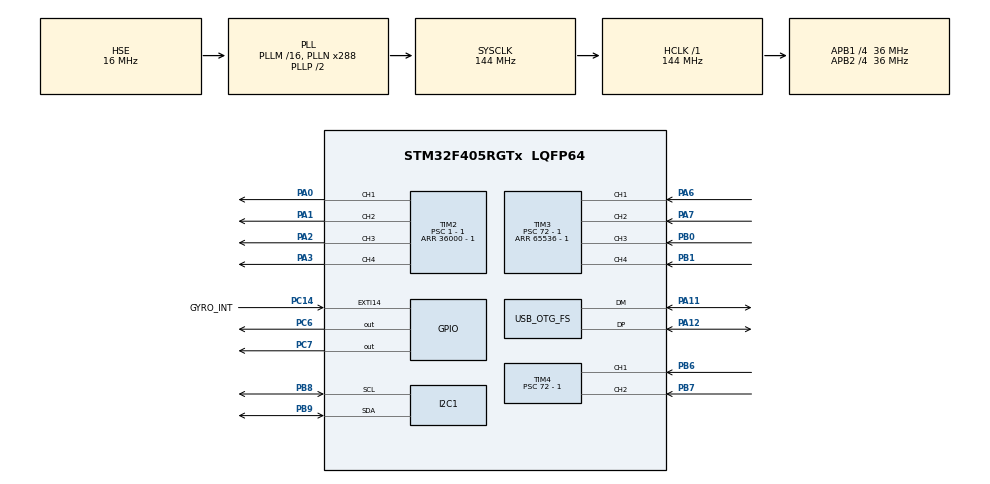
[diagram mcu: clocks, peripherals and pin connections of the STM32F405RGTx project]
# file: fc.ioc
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I2C1.I2C_Mode=I2C_Fast
Mcu.Family=STM32F4
Mcu.Name=STM32F405RGTx
Mcu.Package=LQFP64
NVIC.EXTI15_10_IRQn=true\:0\:0\:true\:false\:true\:true\:true
NVIC.OTG_FS_IRQn=true\:1\:0\:true\:false\:true\:false\:true
NVIC.PriorityGroup=NVIC_PRIORITYGROUP_4
NVIC.TIM3_IRQn=true\:0\:0\:false\:false\:true\:true\:true
NVIC.TIM4_IRQn=true\:0\:0\:false\:false\:true\:true\:true
NVIC.TIM7_IRQn=true\:2\:0\:true\:false\:true\:true\:true
PA0-WKUP.Signal=S_TIM2_CH1_ETR
PA1.Signal=S_TIM2_CH2
PA11.Mode=Device_Only
PA11.Signal=USB_OTG_FS_DM
PA12.Mode=Device_Only
PA12.Signal=USB_OTG_FS_DP
PA13.Mode=Trace_Asynchronous_SW
PA13.Signal=SYS_JTMS-SWDIO
PA14.Mode=Trace_Asynchronous_SW
PA14.Signal=SYS_JTCK-SWCLK
PA2.Signal=S_TIM2_CH3
PA3.Signal=S_TIM2_CH4
PA6.Signal=S_TIM3_CH1
PA7.Signal=S_TIM3_CH2
PB0.Signal=S_TIM3_CH3
PB1.Signal=S_TIM3_CH4
PB3.Mode=Trace_Asynchronous_SW
PB3.Signal=SYS_JTDO-SWO
PB6.Signal=S_TIM4_CH1
PB7.Signal=S_TIM4_CH2
PB8.Mode=I2C
PB8.Signal=I2C1_SCL
PB9.Mode=I2C
PB9.Signal=I2C1_SDA
PC14-OSC32_IN.GPIO_Label=GYRO_INT
PC14-OSC32_IN.Signal=GPXTI14
PC6.Signal=GPIO_Output
PC7.Signal=GPIO_Output
PH0-OSC_IN.Mode=HSE-External-Oscillator
PH0-OSC_IN.Signal=RCC_OSC_IN
PH1-OSC_OUT.Mode=HSE-External-Oscillator
PH1-OSC_OUT.Signal=RCC_OSC_OUT
ProjectManager.HeapSize=0x1000
ProjectManager.StackSize=0x400
ProjectManager.TargetToolchain=STM32CubeIDE
RCC.48MHZClocksFreq_Value=48000000
RCC.AHBFreq_Value=144000000
RCC.APB1CLKDivider=RCC_HCLK_DIV4
RCC.APB1Freq_Value=36000000
RCC.APB1TimFreq_Value=72000000
RCC.APB2CLKDivider=RCC_HCLK_DIV4
RCC.APB2Freq_Value=36000000
RCC.APB2TimFreq_Value=72000000
RCC.CortexFreq_Value=144000000
RCC.HCLKFreq_Value=144000000
RCC.HSE_VALUE=16000000
RCC.HSI_VALUE=16000000
RCC.LSE_VALUE=32768
RCC.PLLN=288
RCC.PLLQ=6
RCC.SYSCLKFreq_VALUE=144000000
RCC.SYSCLKSource=RCC_SYSCLKSOURCE_PLLCLK
RCC.VCOOutputFreq_Value=288000000
SH.S_TIM2_CH1_ETR.0=TIM2_CH1,PWM Generation1 CH1
SH.S_TIM2_CH2.0=TIM2_CH2,PWM Generation2 CH2
SH.S_TIM2_CH3.0=TIM2_CH3,PWM Generation3 CH3
SH.S_TIM2_CH4.0=TIM2_CH4,PWM Generation4 CH4
SH.S_TIM3_CH1.0=TIM3_CH1,Input_Capture1_from_TI1
SH.S_TIM3_CH2.0=TIM3_CH2,Input_Capture2_from_TI2
SH.S_TIM3_CH3.0=TIM3_CH3,Input_Capture3_from_TI3
SH.S_TIM3_CH4.0=TIM3_CH4,Input_Capture4_from_TI4
SH.S_TIM4_CH1.0=TIM4_CH1,Input_Capture1_from_TI1
SH.S_TIM4_CH2.0=TIM4_CH2,Input_Capture2_from_TI2
TIM2.Channel-PWM\ Generation1\ CH1=TIM_CHANNEL_1
TIM2.Channel-PWM\ Generation2\ CH2=TIM_CHANNEL_2
TIM2.Channel-PWM\ Generation3\ CH3=TIM_CHANNEL_3
TIM2.Channel-PWM\ Generation4\ CH4=TIM_CHANNEL_4
TIM2.Period=36000 - 1
TIM2.Prescaler=1 - 1
TIM3.Channel-Input_Capture1_from_TI1=TIM_CHANNEL_1
TIM3.Channel-Input_Capture2_from_TI2=TIM_CHANNEL_2
TIM3.Channel-Input_Capture3_from_TI3=TIM_CHANNEL_3
TIM3.Channel-Input_Capture4_from_TI4=TIM_CHANNEL_4
TIM3.Period=65536 - 1
TIM3.Prescaler=72 - 1
TIM4.Channel-Input_Capture1_from_TI1=TIM_CHANNEL_1
TIM4.Channel-Input_Capture2_from_TI2=TIM_CHANNEL_2
TIM4.Period=65536 - 1
TIM4.Prescaler=72 - 1
TIM6.Period=65536 - 1
TIM6.Prescaler=72 - 1
TIM7.Period=20000 - 1
TIM7.Prescaler=72 - 1
USB_DEVICE.CLASS_NAME_FS=CDC
USB_DEVICE.VirtualMode-CDC_FS=Cdc
USB_DEVICE.VirtualModeFS=Cdc_FS
USB_OTG_FS.VirtualMode=Device_Only
VP_TIM6_VS_ClockSourceINT.Mode=Enable_Timer
VP_TIM7_VS_ClockSourceINT.Mode=Enable_Timer
VP_USB_DEVICE_VS_USB_DEVICE_CDC_FS.Mode=CDC_FS
board=custom

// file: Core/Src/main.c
/* USER CODE BEGIN Header */
/**
  ******************************************************************************
  * @file           : main.c
  * @brief          : Main program body
  ******************************************************************************
  * @attention
  *
  * <h2><center>&copy; Copyright (c) 2021 STMicroelectronics.
  * All rights reserved.</center></h2>
  *
  * This software component is licensed by ST under BSD 3-Clause license,
  * the "License"; You may not use this file except in compliance with the
  * License. You may obtain a copy of the License at:
  *                        opensource.org/licenses/BSD-3-Clause
  *
  ******************************************************************************
  */
/* USER CODE END Header */
#include "main.h"
#include "usb_device.h"

/* USER CODE BEGIN Includes */
#include <stdio.h>
#include <string.h>
#include "usbd_cdc_if.h"

#include "quad.h"
#include "oneshot125.h"
#include "BMI088.h"
#include "PID3.h"

/* USER CODE END Includes */

I2C_HandleTypeDef hi2c1;

TIM_HandleTypeDef htim2;
TIM_HandleTypeDef htim3;
TIM_HandleTypeDef htim4;
TIM_HandleTypeDef htim6;
TIM_HandleTypeDef htim7;

/* USER CODE BEGIN PV */

/* QUAD STRUCTURE */
QUAD quad;

/* PWM INPUT CAPTURE */
PWMCAPTURE IC;

/* PID CONTROLLER */
PID3 PID;

/* ONESHOT125 OUTPUT DRIVER */
ONESHOT125 OSHOT;

/* PID GAINS */
/* ROLL  PITCH  YAW  */
const float Kp[] = {0.15, 0.15, 0.20};
const float Ki[] = {0.05, 0.05, 0.05};
const float Kd[] = {0.07, 0.07, 0.02};

/* GLOBAL FLAGS */
volatile uint8_t DATA_STATUS   = DATA_RESET;   // DATA READY FLAG
volatile uint8_t UPDATE_STATUS = UPDATE_RESET; // UPDATE READY FLAG

/* USER CODE END PV */

void SystemClock_Config(void);
static void MX_GPIO_Init(void);
static void MX_I2C1_Init(void);
static void MX_TIM7_Init(void);
static void MX_TIM6_Init(void);
static void MX_TIM2_Init(void);
static void MX_TIM3_Init(void);
static void MX_TIM4_Init(void);
/* USER CODE BEGIN PFP */

static void QUAD_Wrapper_Init(void);
static void IC_Wrapper_Init(void);
static void BMI088_Wrapper_Init(void);
static void OS125_Wrapper_Init(void);
static void PID3_Wrapper_Init(void);
static void PWM_INPUT_START(void);
static void PWM_OUTPUT_START(void);

/* USER CODE END PFP */

int main(void)
{

  /* MCU Configuration--------------------------------------------------------*/

  /* Reset of all peripherals, Initializes the Flash interface and the Systick. */
  HAL_Init();

  /* Configure the system clock */
  SystemClock_Config();

  /* Initialize all configured peripherals */
  MX_GPIO_Init();
  MX_I2C1_Init();
  MX_USB_DEVICE_Init();
  MX_TIM7_Init();
  MX_TIM6_Init();
  MX_TIM2_Init();
  MX_TIM3_Init();
  MX_TIM4_Init();
  /* USER CODE BEGIN 2 */

  HAL_TIM_Base_Start_IT(&htim7);	// START 50Hz SERIAL UPDATE TIMER
  HAL_TIM_Base_Start(&htim6);    	// START TIMEKEEPING TIMER

  BMI088_Wrapper_Init();			// INITIALIZE GYROSCOPE
  IC_Wrapper_Init();                // INITALIZE INPUT CAPTURE
  OS125_Wrapper_Init();				// INITIALIZE ONESHOT125 OUTPUT DRIVER
  PID3_Wrapper_Init();				// INITALIZE PID CONTROLLER
  QUAD_Wrapper_Init();				// INITIALIZE QUAD STRUCTURE

  PWM_INPUT_START();             	// START RX INPUT CAPTURE TIMERS
  PWM_OUTPUT_START();				// START PWM OUTPUT TIMERS

  // TURN ON STATUS LED
  HAL_GPIO_WritePin(GPIOC, GPIO_PIN_6, GPIO_PIN_SET);

  /* USER CODE END 2 */

  /* Infinite loop */
  while (1)
  {

    /* USER CODE BEGIN 3 */

	  // CHECK IF DATA_READY FLAG IS SET
	  if (DATA_STATUS == DATA_READY)
	  {
		  QUAD_UPDATE(&quad);

		  // RESET DATA_READY FLAG
		  DATA_STATUS = DATA_RESET;
	  }

	  // CHECK IF UPDATE_READY FLAG IS SET
	  if (UPDATE_STATUS == UPDATE_READY)
	  {
		  QUAD_SEND_ORIENTATION(&quad);

		  // RESET UPDATE_READY FLAG
		  UPDATE_STATUS = UPDATE_RESET;
	  }

  }
  /* USER CODE END 3 */
}

void SystemClock_Config(void)
{
  RCC_OscInitTypeDef RCC_OscInitStruct = {0};
  RCC_ClkInitTypeDef RCC_ClkInitStruct = {0};

  /** Configure the main internal regulator output voltage
  */
  __HAL_RCC_PWR_CLK_ENABLE();
  __HAL_PWR_VOLTAGESCALING_CONFIG(PWR_REGULATOR_VOLTAGE_SCALE1);
  /** Initializes the RCC Oscillators according to the specified parameters
  * in the RCC_OscInitTypeDef structure.
  */
  RCC_OscInitStruct.OscillatorType = RCC_OSCILLATORTYPE_HSE;
  RCC_OscInitStruct.HSEState = RCC_HSE_ON;
  RCC_OscInitStruct.PLL.PLLState = RCC_PLL_ON;
  RCC_OscInitStruct.PLL.PLLSource = RCC_PLLSOURCE_HSE;
  RCC_OscInitStruct.PLL.PLLM = 16;
  RCC_OscInitStruct.PLL.PLLN = 288;
  RCC_OscInitStruct.PLL.PLLP = RCC_PLLP_DIV2;
  RCC_OscInitStruct.PLL.PLLQ = 6;
  if (HAL_RCC_OscConfig(&RCC_OscInitStruct) != HAL_OK)
  {
    Error_Handler();
  }
  /** Initializes the CPU, AHB and APB buses clocks
  */
  RCC_ClkInitStruct.ClockType = RCC_CLOCKTYPE_HCLK|RCC_CLOCKTYPE_SYSCLK
                              |RCC_CLOCKTYPE_PCLK1|RCC_CLOCKTYPE_PCLK2;
  RCC_ClkInitStruct.SYSCLKSource = RCC_SYSCLKSOURCE_PLLCLK;
  RCC_ClkInitStruct.AHBCLKDivider = RCC_SYSCLK_DIV1;
  RCC_ClkInitStruct.APB1CLKDivider = RCC_HCLK_DIV4;
  RCC_ClkInitStruct.APB2CLKDivider = RCC_HCLK_DIV4;

  if (HAL_RCC_ClockConfig(&RCC_ClkInitStruct, FLASH_LATENCY_4) != HAL_OK)
  {
    Error_Handler();
  }
}

static void MX_I2C1_Init(void)
{

  hi2c1.Instance = I2C1;
  hi2c1.Init.ClockSpeed = 400000;
  hi2c1.Init.DutyCycle = I2C_DUTYCYCLE_2;
  hi2c1.Init.OwnAddress1 = 0;
  hi2c1.Init.AddressingMode = I2C_ADDRESSINGMODE_7BIT;
  hi2c1.Init.DualAddressMode = I2C_DUALADDRESS_DISABLE;
  hi2c1.Init.OwnAddress2 = 0;
  hi2c1.Init.GeneralCallMode = I2C_GENERALCALL_DISABLE;
  hi2c1.Init.NoStretchMode = I2C_NOSTRETCH_DISABLE;
  if (HAL_I2C_Init(&hi2c1) != HAL_OK)
  {
    Error_Handler();
  }

}

static void MX_TIM2_Init(void)
{

  TIM_MasterConfigTypeDef sMasterConfig = {0};
  TIM_OC_InitTypeDef sConfigOC = {0};

  htim2.Instance = TIM2;
  htim2.Init.Prescaler = 1 - 1;
  htim2.Init.CounterMode = TIM_COUNTERMODE_UP;
  htim2.Init.Period = 36000 - 1;
  htim2.Init.ClockDivision = TIM_CLOCKDIVISION_DIV1;
  htim2.Init.AutoReloadPreload = TIM_AUTORELOAD_PRELOAD_DISABLE;
  if (HAL_TIM_PWM_Init(&htim2) != HAL_OK)
  {
    Error_Handler();
  }
  sMasterConfig.MasterOutputTrigger = TIM_TRGO_RESET;
  sMasterConfig.MasterSlaveMode = TIM_MASTERSLAVEMODE_DISABLE;
  if (HAL_TIMEx_MasterConfigSynchronization(&htim2, &sMasterConfig) != HAL_OK)
  {
    Error_Handler();
  }
  sConfigOC.OCMode = TIM_OCMODE_PWM1;
  sConfigOC.Pulse = 0;
  sConfigOC.OCPolarity = TIM_OCPOLARITY_HIGH;
  sConfigOC.OCFastMode = TIM_OCFAST_DISABLE;
  if (HAL_TIM_PWM_ConfigChannel(&htim2, &sConfigOC, TIM_CHANNEL_1) != HAL_OK)
  {
    Error_Handler();
  }
  if (HAL_TIM_PWM_ConfigChannel(&htim2, &sConfigOC, TIM_CHANNEL_2) != HAL_OK)
  {
    Error_Handler();
  }
  if (HAL_TIM_PWM_ConfigChannel(&htim2, &sConfigOC, TIM_CHANNEL_3) != HAL_OK)
  {
    Error_Handler();
  }
  if (HAL_TIM_PWM_ConfigChannel(&htim2, &sConfigOC, TIM_CHANNEL_4) != HAL_OK)
  {
    Error_Handler();
  }
  HAL_TIM_MspPostInit(&htim2);

}

static void MX_TIM3_Init(void)
{

  TIM_MasterConfigTypeDef sMasterConfig = {0};
  TIM_IC_InitTypeDef sConfigIC = {0};

  htim3.Instance = TIM3;
  htim3.Init.Prescaler = 72 - 1;
  htim3.Init.CounterMode = TIM_COUNTERMODE_UP;
  htim3.Init.Period = 65536 - 1;
  htim3.Init.ClockDivision = TIM_CLOCKDIVISION_DIV1;
  htim3.Init.AutoReloadPreload = TIM_AUTORELOAD_PRELOAD_DISABLE;
  if (HAL_TIM_IC_Init(&htim3) != HAL_OK)
  {
    Error_Handler();
  }
  sMasterConfig.MasterOutputTrigger = TIM_TRGO_RESET;
  sMasterConfig.MasterSlaveMode = TIM_MASTERSLAVEMODE_DISABLE;
  if (HAL_TIMEx_MasterConfigSynchronization(&htim3, &sMasterConfig) != HAL_OK)
  {
    Error_Handler();
  }
  sConfigIC.ICPolarity = TIM_INPUTCHANNELPOLARITY_RISING;
  sConfigIC.ICSelection = TIM_ICSELECTION_DIRECTTI;
  sConfigIC.ICPrescaler = TIM_ICPSC_DIV1;
  sConfigIC.ICFilter = 0;
  if (HAL_TIM_IC_ConfigChannel(&htim3, &sConfigIC, TIM_CHANNEL_1) != HAL_OK)
  {
    Error_Handler();
  }
  if (HAL_TIM_IC_ConfigChannel(&htim3, &sConfigIC, TIM_CHANNEL_2) != HAL_OK)
  {
    Error_Handler();
  }
  if (HAL_TIM_IC_ConfigChannel(&htim3, &sConfigIC, TIM_CHANNEL_3) != HAL_OK)
  {
    Error_Handler();
  }
  if (HAL_TIM_IC_ConfigChannel(&htim3, &sConfigIC, TIM_CHANNEL_4) != HAL_OK)
  {
    Error_Handler();
  }

}

static void MX_TIM4_Init(void)
{

  TIM_MasterConfigTypeDef sMasterConfig = {0};
  TIM_IC_InitTypeDef sConfigIC = {0};

  htim4.Instance = TIM4;
  htim4.Init.Prescaler = 72 - 1;
  htim4.Init.CounterMode = TIM_COUNTERMODE_UP;
  htim4.Init.Period = 65536 - 1;
  htim4.Init.ClockDivision = TIM_CLOCKDIVISION_DIV1;
  htim4.Init.AutoReloadPreload = TIM_AUTORELOAD_PRELOAD_DISABLE;
  if (HAL_TIM_IC_Init(&htim4) != HAL_OK)
  {
    Error_Handler();
  }
  sMasterConfig.MasterOutputTrigger = TIM_TRGO_RESET;
  sMasterConfig.MasterSlaveMode = TIM_MASTERSLAVEMODE_DISABLE;
  if (HAL_TIMEx_MasterConfigSynchronization(&htim4, &sMasterConfig) != HAL_OK)
  {
    Error_Handler();
  }
  sConfigIC.ICPolarity = TIM_INPUTCHANNELPOLARITY_RISING;
  sConfigIC.ICSelection = TIM_ICSELECTION_DIRECTTI;
  sConfigIC.ICPrescaler = TIM_ICPSC_DIV1;
  sConfigIC.ICFilter = 0;
  if (HAL_TIM_IC_ConfigChannel(&htim4, &sConfigIC, TIM_CHANNEL_1) != HAL_OK)
  {
    Error_Handler();
  }
  if (HAL_TIM_IC_ConfigChannel(&htim4, &sConfigIC, TIM_CHANNEL_2) != HAL_OK)
  {
    Error_Handler();
  }

}

static void MX_TIM6_Init(void)
{

  TIM_MasterConfigTypeDef sMasterConfig = {0};

  htim6.Instance = TIM6;
  htim6.Init.Prescaler = 72 - 1;
  htim6.Init.CounterMode = TIM_COUNTERMODE_UP;
  htim6.Init.Period = 65536 - 1;
  htim6.Init.AutoReloadPreload = TIM_AUTORELOAD_PRELOAD_DISABLE;
  if (HAL_TIM_Base_Init(&htim6) != HAL_OK)
  {
    Error_Handler();
  }
  sMasterConfig.MasterOutputTrigger = TIM_TRGO_RESET;
  sMasterConfig.MasterSlaveMode = TIM_MASTERSLAVEMODE_DISABLE;
  if (HAL_TIMEx_MasterConfigSynchronization(&htim6, &sMasterConfig) != HAL_OK)
  {
    Error_Handler();
  }

}

static void MX_TIM7_Init(void)
{

  TIM_MasterConfigTypeDef sMasterConfig = {0};

  htim7.Instance = TIM7;
  htim7.Init.Prescaler = 72 - 1;
  htim7.Init.CounterMode = TIM_COUNTERMODE_UP;
  htim7.Init.Period = 20000 - 1;
  htim7.Init.AutoReloadPreload = TIM_AUTORELOAD_PRELOAD_DISABLE;
  if (HAL_TIM_Base_Init(&htim7) != HAL_OK)
  {
    Error_Handler();
  }
  sMasterConfig.MasterOutputTrigger = TIM_TRGO_RESET;
  sMasterConfig.MasterSlaveMode = TIM_MASTERSLAVEMODE_DISABLE;
  if (HAL_TIMEx_MasterConfigSynchronization(&htim7, &sMasterConfig) != HAL_OK)
  {
    Error_Handler();
  }

}

static void MX_GPIO_Init(void)
{
  GPIO_InitTypeDef GPIO_InitStruct = {0};

  /* GPIO Ports Clock Enable */
  __HAL_RCC_GPIOC_CLK_ENABLE();
  __HAL_RCC_GPIOH_CLK_ENABLE();
  __HAL_RCC_GPIOA_CLK_ENABLE();
  __HAL_RCC_GPIOB_CLK_ENABLE();

  /*Configure GPIO pin Output Level */
  HAL_GPIO_WritePin(GPIOC, GPIO_PIN_6|GPIO_PIN_7, GPIO_PIN_RESET);

  /*Configure GPIO pin : GYRO_INT_Pin */
  GPIO_InitStruct.Pin = GYRO_INT_Pin;
  GPIO_InitStruct.Mode = GPIO_MODE_IT_RISING;
  GPIO_InitStruct.Pull = GPIO_NOPULL;
  HAL_GPIO_Init(GYRO_INT_GPIO_Port, &GPIO_InitStruct);

  /*Configure GPIO pins : PC6 PC7 */
  GPIO_InitStruct.Pin = GPIO_PIN_6|GPIO_PIN_7;
  GPIO_InitStruct.Mode = GPIO_MODE_OUTPUT_PP;
  GPIO_InitStruct.Pull = GPIO_NOPULL;
  GPIO_InitStruct.Speed = GPIO_SPEED_FREQ_LOW;
  HAL_GPIO_Init(GPIOC, &GPIO_InitStruct);

  /* EXTI interrupt init*/
  HAL_NVIC_SetPriority(EXTI15_10_IRQn, 0, 0);
  HAL_NVIC_EnableIRQ(EXTI15_10_IRQn);

}

/* USER CODE BEGIN 4 */

/* GYROSCOPE DATA READY INTERRUPT CALLBACK */
void HAL_GPIO_EXTI_Callback(uint16_t GPIO_Pin)
{
	if (GPIO_Pin == GPIO_PIN_14) { DATA_STATUS = DATA_READY; }    // SET DATA_READY FLAG
}

/* TIMER INTERRUPT CALLBACK FOR 50Hz UPDATE OVER SERIAL */
void HAL_TIM_PeriodElapsedCallback(TIM_HandleTypeDef *htim)
{
	if (htim->Instance == TIM7) { UPDATE_STATUS = UPDATE_READY; } // SET UPDATE_READY FLAG
}

/**
 * INPUT CAPTURE INTERRUPT CALLBACK
 * Measures pulse widths on the following channels:
 * TIM3: CH1, CH2, CH3, CH4
 * TIM4: CH1, CH2
 */
void HAL_TIM_IC_CaptureCallback(TIM_HandleTypeDef *htim)
{
	uint8_t idx     = 0; // CHANNEL INDEX
	uint8_t channel = 0; // TIMER CHANNEL

	// TIMER 3: 4 CHANNELS
	if (htim == &htim3)
	{
		if (htim->Channel == HAL_TIM_ACTIVE_CHANNEL_1)
		{
			idx     = 4;
			channel = TIM_CHANNEL_1;
		}
		if (htim->Channel == HAL_TIM_ACTIVE_CHANNEL_2)
		{
			idx     = 5;
			channel = TIM_CHANNEL_2;
		}
		if (htim->Channel == HAL_TIM_ACTIVE_CHANNEL_3)
		{
			idx     = 3;
			channel = TIM_CHANNEL_3;
		}
		if (htim->Channel == HAL_TIM_ACTIVE_CHANNEL_4)
		{
			idx     = 2;
			channel = TIM_CHANNEL_4;
		}

		//  PULSE WIDTH CAPTURE
		if (IC.started[idx] == 0x0) {
			IC.ts1[idx] = HAL_TIM_ReadCapturedValue(htim, channel);							// GET FIRST TIMESTAMP
			__HAL_TIM_SET_CAPTUREPOLARITY(htim, channel, TIM_INPUTCHANNELPOLARITY_FALLING);	// FLIP POLARITY
			IC.started[idx] = 0x1;															// UPDATE STATUS
		} else if (IC.started[idx] == 0x1) {
			IC.ts2[idx] = HAL_TIM_ReadCapturedValue(htim, channel);							// GET SECOND TIMESTAMP
			IC.elapsed[idx] = IC.ts2[idx] - IC.ts1[idx];									// CALCULATE PULSE WIDTH
			__HAL_TIM_SET_CAPTUREPOLARITY(htim, channel, TIM_INPUTCHANNELPOLARITY_RISING);	// FLIP POLARITY
			IC.started[idx] = 0x0;															// UPDATE STATUS
		}
	}
	// TIMER 4: 2 CHANNELS
	if (htim == &htim4)
	{
		if (htim->Channel == HAL_TIM_ACTIVE_CHANNEL_1)
		{
			idx     = 1;
			channel = TIM_CHANNEL_1;
		}
		if (htim->Channel == HAL_TIM_ACTIVE_CHANNEL_2)
		{
			idx     = 0;
			channel = TIM_CHANNEL_2;
		}

		//  PULSE WIDTH CAPTURE
		if (IC.started[idx] == 0x0) {
			IC.ts1[idx] = HAL_TIM_ReadCapturedValue(htim, channel);							// GET FIRST TIMESTAMP
			__HAL_TIM_SET_CAPTUREPOLARITY(htim, channel, TIM_INPUTCHANNELPOLARITY_FALLING);	// FLIP POLARITY
			IC.started[idx] = 0x1;															// UPDATE STATUS
		} else if (IC.started[idx] == 0x1) {
			IC.ts2[idx] = HAL_TIM_ReadCapturedValue(htim, channel);							// GET SECOND TIMESTAMP
			IC.elapsed[idx] = IC.ts2[idx] - IC.ts1[idx];									// CALCULATE PULSE WIDTH
			__HAL_TIM_SET_CAPTUREPOLARITY(htim, channel, TIM_INPUTCHANNELPOLARITY_RISING);	// FLIP POLARITY
			IC.started[idx] = 0x0;															// UPDATE STATUS
		}
	}

}

static void QUAD_Wrapper_Init(void)
{
	quad.hi2c = &hi2c1;
	quad.htim = &htim6;
	quad.IC   = &IC;
	quad.OS   = &OSHOT;
	quad.PID  = &PID;

	QUAD_Init(&quad);

	// ENABLE TEST MODE (THROTTLE PASS THROUGH)
	// quad.TEST_MODE = 0x1;
}

static void IC_Wrapper_Init(void)
{
	for (int i = 0; i < 6; i++)
	{
		IC.started[0] = 0;
		IC.ts1[0] = 0;
		IC.ts2[0] = 0;
		IC.elapsed[0] = 0;
	}
}

static void BMI088_Wrapper_Init(void)
{
	// CHECK DEVICE IDENTIFIERS
	if ( BMI088_I2C_Read_CHIP_IDS(&hi2c1) != HAL_OK ) { Error_Handler(); }
	// RUN BMI088 GYROSCOPE INITIALIZATION
	if ( BMI088_I2C_GYRO_INIT(&hi2c1) != HAL_OK )     { Error_Handler(); };
}

/* ONESHOT125 INTIALIZATION FUNCTION */
static void OS125_Wrapper_Init(void)
{
	OSHOT.htim     = &htim2;
	OSHOT.com      = PID.out;
	OSHOT.IC       = IC.elapsed;
	OSHOT.fclk     = 72000000;
	OSHOT.fclk_psc = 1 - 1;

	if (OS125_Init(&OSHOT) != OS125_OK) { Error_Handler(); };
}

/* PID INITIALIZATION FUNCTION */
static void PID3_Wrapper_Init(void)
{
	if ( PID3_Init(&PID, Kp, Ki, Kd) != PID_OK )               { Error_Handler(); }
	if ( PID3_Set_Tau(&PID, 0.002) != PID_OK)                  { Error_Handler(); }
	// SET INTEGRATOR LIMITS TO 10% OF OUTPUT
	if ( PID3_Set_Integrator_Limit(&PID, -0.1, 0.1) != PID_OK) { Error_Handler(); }
	// SET PID OUTPUT LIMIT TO 30% OF OUTPUT
	if ( PID3_Set_Output_Limit(&PID, -0.3, 0.3) != PID_OK)     { Error_Handler(); }
}

/* START INPUT CAPTURE */
static void PWM_INPUT_START(void)
{
	HAL_TIM_IC_Start_IT(&htim3, TIM_CHANNEL_1);
	HAL_TIM_IC_Start_IT(&htim3, TIM_CHANNEL_2);
	HAL_TIM_IC_Start_IT(&htim3, TIM_CHANNEL_3);
	HAL_TIM_IC_Start_IT(&htim3, TIM_CHANNEL_4);
	HAL_TIM_IC_Start_IT(&htim4, TIM_CHANNEL_1);
	HAL_TIM_IC_Start_IT(&htim4, TIM_CHANNEL_2);
}

/* START PWM OUTPUT */
static void PWM_OUTPUT_START(void)
{
	HAL_TIM_PWM_Start(&htim2, TIM_CHANNEL_1);
	HAL_TIM_PWM_Start(&htim2, TIM_CHANNEL_2);
	HAL_TIM_PWM_Start(&htim2, TIM_CHANNEL_3);
	HAL_TIM_PWM_Start(&htim2, TIM_CHANNEL_4);
}

/* USER CODE END 4 */

void Error_Handler(void)
{
  /* USER CODE BEGIN Error_Handler_Debug */
  /* User can add his own implementation to report the HAL error return state */

  __disable_irq();

  // DISABLE PWM OUTPUT
  HAL_TIM_PWM_Stop(&htim2, TIM_CHANNEL_1);
  HAL_TIM_PWM_Stop(&htim2, TIM_CHANNEL_2);
  HAL_TIM_PWM_Stop(&htim2, TIM_CHANNEL_3);
  HAL_TIM_PWM_Stop(&htim2, TIM_CHANNEL_4);

  // SET STATUS LEDS
  HAL_GPIO_WritePin(GPIOC, GPIO_PIN_6, GPIO_PIN_RESET);
  HAL_GPIO_WritePin(GPIOC, GPIO_PIN_7, GPIO_PIN_SET);

  CDC_Transmit_FS((uint8_t*)"ERROR\n", 6);

  while (1)
  {

  }
  /* USER CODE END Error_Handler_Debug */
}

/************************ (C) COPYRIGHT STMicroelectronics *****END OF FILE****/
